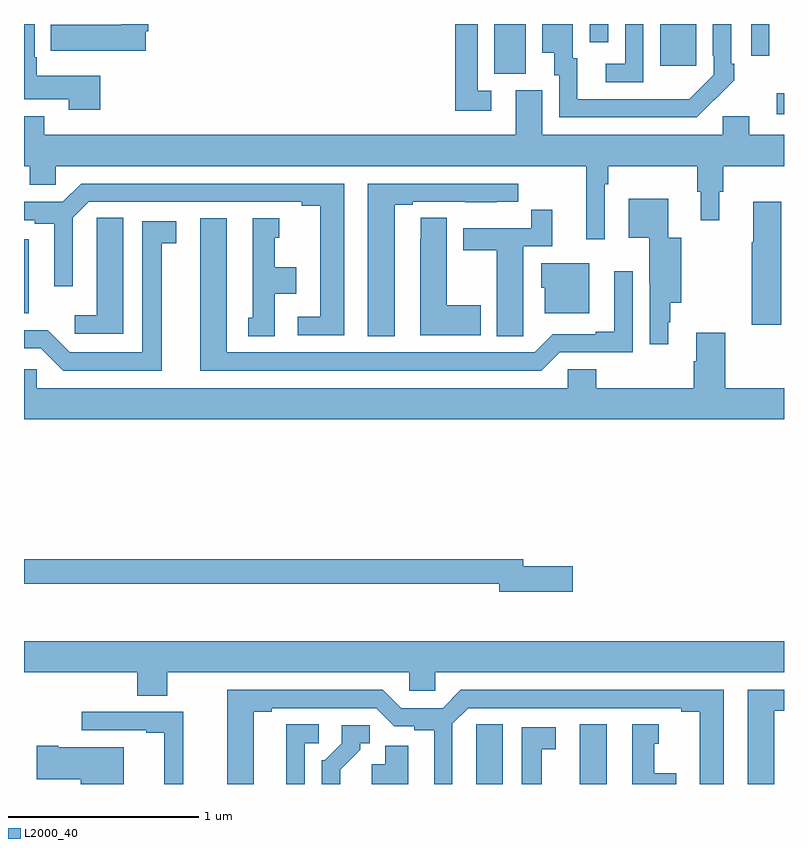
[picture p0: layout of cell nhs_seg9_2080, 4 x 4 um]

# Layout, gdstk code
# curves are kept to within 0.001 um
import gdstk
lib = gdstk.Library(unit=1e-6, precision=1e-09)
def R(c, l, rs):  # rectangles x0, y0, x1, y1
    for r in rs: c.add(gdstk.rectangle(r[:2], r[2:], *l))
def P(c, l, *ps):  # polygons
    for p in ps: c.add(gdstk.Polygon(p, *l))
L2000_40 = (2000, 40)

nhs_seg9_2080 = lib.new_cell('nhs_seg9_2080')
R(nhs_seg9_2080, L2000_40, [(231.926,1194.5,232.066,1194.814), (229,1196.978,229.024,1197.366), (232.962,1198.026,233,1198.135), (231.476,1198.237,231.64,1198.5), (232.349,1198.281,232.537,1198.5), (232.827,1198.332,232.923,1198.5), (231.978,1198.404,232.074,1198.5)])
P(nhs_seg9_2080, L2000_40, [(229.4,1198.228),(229.068,1198.228),(229.068,1198.324),(229.056,1198.324),(229.056,1198.5),(229,1198.5),(229,1198.103),(229.235,1198.103),(229.235,1198.05),(229.4,1198.05)],
  [(229.642,1198.462),(229.655,1198.462),(229.655,1198.5),(229.513,1198.5),(229.513,1198.497),(229.141,1198.497),(229.141,1198.359),(229.249,1198.359),(229.249,1198.358),(229.642,1198.358)],
  [(232.631,1198.099),(232.632,1198.098),(232.737,1198.203),(232.737,1198.291),(232.722,1198.291),(232.722,1198.5),(232.626,1198.5),(232.626,1198.333),(232.629,1198.333),(232.629,1198.233),(232.501,1198.105),(232.397,1198.104),(231.913,1198.104),(231.913,1198.32),(231.889,1198.32),(231.889,1198.5),(231.728,1198.5),(231.728,1198.349),(231.791,1198.349),(231.791,1198.23),(231.816,1198.23),(231.816,1198.008),(232.54,1198.008)],
  [(232.26,1198.5),(232.164,1198.5),(232.164,1198.29),(232.062,1198.29),(232.062,1198.194),(232.26,1198.194)],
  [(231.46,1198.149),(231.387,1198.149),(231.387,1198.5),(231.271,1198.5),(231.271,1198.044),(231.46,1198.044)],
  [(232.056,1197.656),(232.076,1197.656),(232.076,1197.752),(232.543,1197.752),(232.543,1197.618),(232.562,1197.618),(232.562,1197.468),(232.66,1197.468),(232.66,1197.618),(232.679,1197.618),(232.679,1197.752),(233,1197.752),(233,1197.916),(232.816,1197.916),(232.816,1198.014),(232.677,1198.014),(232.677,1197.916),(231.727,1197.916),(231.727,1198.152),(231.587,1198.152),(231.587,1197.916),(229.106,1197.916),(229.106,1198.015),(229,1198.015),(229,1197.752),(229.029,1197.752),(229.029,1197.654),(229.167,1197.654),(229.167,1197.752),(231.959,1197.752),(231.959,1197.366),(232.056,1197.366)],
  [(230.686,1197.66),(229.301,1197.66),(229.205,1197.564),(229,1197.564),(229,1197.468),(229.056,1197.468),(229.056,1197.448),(229.16,1197.448),(229.16,1197.12),(229.257,1197.12),(229.257,1197.48),(229.341,1197.564),(230.462,1197.564),(230.462,1197.544),(230.558,1197.544),(230.558,1196.958),(230.442,1196.958),(230.442,1196.862),(230.686,1196.862)],
  [(230.95,1197.549),(231.046,1197.549),(231.046,1197.564),(231.322,1197.564),(231.322,1197.563),(231.488,1197.563),(231.488,1197.564),(231.601,1197.564),(231.601,1197.66),(230.81,1197.66),(230.81,1196.857),(230.95,1196.857)],
  [(232.39,1196.931),(232.402,1196.931),(232.402,1197.032),(232.458,1197.032),(232.458,1197.376),(232.39,1197.376),(232.39,1197.58),(232.184,1197.58),(232.184,1197.374),(232.292,1197.374),(232.292,1197.136),(232.293,1197.136),(232.293,1196.814),(232.39,1196.814)],
  [(232.985,1197.565),(232.838,1197.565),(232.838,1197.352),(232.831,1197.352),(232.831,1196.916),(232.985,1196.916)],
  [(231.627,1196.968),(231.628,1196.968),(231.628,1197.33),(231.779,1197.33),(231.779,1197.523),(231.67,1197.523),(231.67,1197.426),(231.311,1197.426),(231.311,1197.31),(231.488,1197.31),(231.488,1196.857),(231.627,1196.857)],
  [(231.403,1197.021),(231.226,1197.021),(231.226,1197.479),(231.087,1197.479),(231.087,1197.371),(231.086,1197.371),(231.086,1196.861),(231.403,1196.861)],
  [(229.522,1197.479),(229.383,1197.479),(229.383,1197.371),(229.382,1197.371),(229.382,1196.968),(229.266,1196.968),(229.266,1196.871),(229.522,1196.871)],
  [(230.32,1197.08),(230.434,1197.08),(230.434,1197.22),(230.32,1197.22),(230.32,1197.375),(230.344,1197.375),(230.344,1197.478),(230.204,1197.478),(230.204,1196.955),(230.18,1196.955),(230.18,1196.857),(230.32,1196.857)],
  [(231.819,1196.772),(232.203,1196.772),(232.203,1197.199),(232.106,1197.199),(232.106,1196.881),(232.01,1196.881),(232.01,1196.868),(231.783,1196.868),(231.687,1196.772),(230.068,1196.772),(230.068,1197.478),(229.928,1197.478),(229.928,1196.676),(231.723,1196.676)],
  [(229.726,1197.346),(229.801,1197.346),(229.801,1197.462),(229.622,1197.462),(229.622,1196.772),(229.242,1196.772),(229.125,1196.889),(229,1196.889),(229,1196.793),(229.089,1196.793),(229.206,1196.676),(229.726,1196.676)],
  [(231.976,1197.241),(231.722,1197.241),(231.722,1197.111),(231.74,1197.111),(231.74,1196.978),(231.976,1196.978)],
  [(233,1196.584),(232.691,1196.584),(232.691,1196.875),(232.538,1196.875),(232.538,1196.726),(232.526,1196.726),(232.526,1196.584),(232.013,1196.584),(232.013,1196.682),(231.861,1196.682),(231.861,1196.584),(229.068,1196.584),(229.068,1196.682),(229,1196.682),(229,1196.42),(233,1196.42)],
  [(231.889,1195.646),(231.628,1195.646),(231.628,1195.682),(229,1195.682),(229,1195.554),(231.5,1195.554),(231.5,1195.511),(231.889,1195.511)],
  [(229.755,1195.088),(231.027,1195.088),(231.027,1194.99),(231.165,1194.99),(231.165,1195.088),(233,1195.088),(233,1195.252),(229,1195.252),(229,1195.088),(229.595,1195.088),(229.595,1194.964),(229.755,1194.964)],
  [(232.948,1194.885),(233,1194.885),(233,1194.996),(232.808,1194.996),(232.808,1194.5),(232.948,1194.5)],
  [(230.209,1194.88),(230.305,1194.88),(230.305,1194.9),(230.853,1194.9),(230.949,1194.804),(231.054,1194.804),(231.054,1194.784),(231.158,1194.784),(231.158,1194.5),(231.255,1194.5),(231.255,1194.816),(231.339,1194.9),(232.46,1194.9),(232.46,1194.88),(232.556,1194.88),(232.556,1194.5),(232.684,1194.5),(232.684,1194.996),(231.299,1194.996),(231.203,1194.9),(230.985,1194.9),(230.889,1194.996),(230.069,1194.996),(230.069,1194.5),(230.209,1194.5)],
  [(229.839,1194.879),(229.305,1194.879),(229.305,1194.783),(229.643,1194.783),(229.643,1194.771),(229.739,1194.771),(229.739,1194.5),(229.839,1194.5)],
  [(230.478,1194.714),(230.551,1194.714),(230.551,1194.815),(230.381,1194.815),(230.381,1194.5),(230.478,1194.5)],
  [(231.52,1194.815),(231.381,1194.815),(231.381,1194.707),(231.38,1194.707),(231.38,1194.5),(231.52,1194.5)],
  [(232.432,1194.556),(232.318,1194.556),(232.318,1194.711),(232.342,1194.711),(232.342,1194.814),(232.202,1194.814),(232.202,1194.5),(232.432,1194.5)],
  [(230.665,1194.574),(230.77,1194.679),(230.77,1194.714),(230.82,1194.714),(230.82,1194.81),(230.673,1194.81),(230.673,1194.714),(230.583,1194.624),(230.568,1194.624),(230.568,1194.5),(230.665,1194.5)],
  [(231.724,1194.682),(231.799,1194.682),(231.799,1194.798),(231.62,1194.798),(231.62,1194.5),(231.724,1194.5)],
  [(231.022,1194.702),(230.9,1194.702),(230.9,1194.604),(230.831,1194.604),(230.831,1194.5),(231.022,1194.5)],
  [(229.525,1194.694),(229.18,1194.694),(229.18,1194.702),(229.068,1194.702),(229.068,1194.524),(229.298,1194.524),(229.298,1194.5),(229.525,1194.5)])

lib.write_gds('nhs_seg9_2080.gds')
